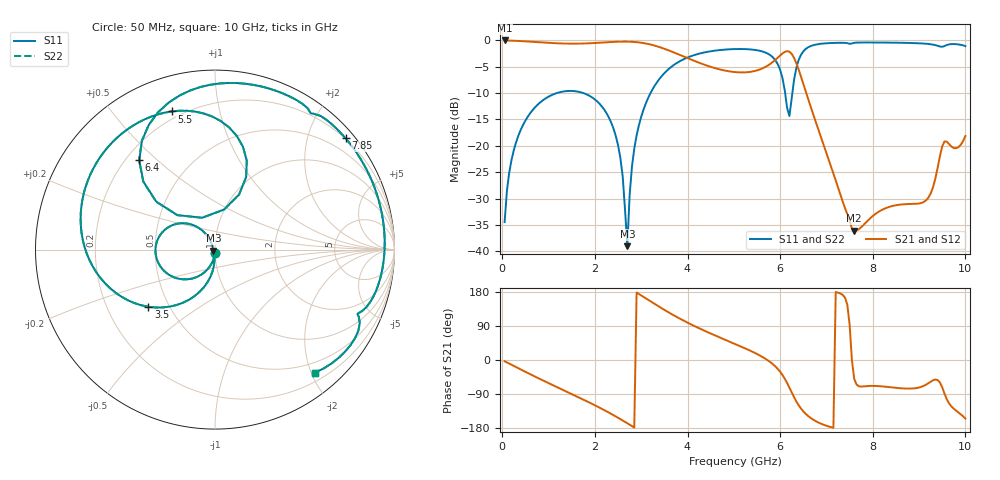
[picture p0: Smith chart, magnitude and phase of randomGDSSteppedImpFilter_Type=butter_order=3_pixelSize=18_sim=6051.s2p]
! freq	dB(S11)	phase(S11)	dB(S12)	phase(S12)
!  dB(S21)	phase(S21)	dB(S22)	phase(S22)
!S-par simulation data
#  GHz  S  DB  R 50
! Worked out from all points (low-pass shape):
!   200 points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, 50 MHz to 10 GHz, reference 50 ohm
!   highest |S21| = -0.01 dB at 50 MHz (marker M1); lowest = -36.1 dB at 7.6 GHz (marker M2)
!   |S21| within 3 dB of the highest: start of sweep to 3.904 GHz; 5.981 GHz to 6.28 GHz (298.9 MHz wide, 4.88 % of centre)
!   lowest |S11| = -39.0 dB at 2.7 GHz (marker M3), VSWR 1.02, Z = 49.1 - j0.611 ohm
!   |S11| at or under -10 dB: start of sweep to 1.176 GHz; 1.753 GHz to 3.2 GHz (1.447 GHz wide, 58.4 % of centre); 6.108 GHz to 6.263 GHz (155.7 MHz wide, 2.52 % of centre)
!   |S22| runs from -38.9 to -0.4 dB; largest |S21 - S12| = 0
!   S11 on the Smith chart (normalised r, x): 50 MHz: 1.00, -0.04; 3.5 GHz: 0.38, -0.32; 5.5 GHz: 0.16, +0.72; 6.4 GHz: 0.25, +0.44; 7.85 GHz: 0.19, +2.71; 10 GHz: 0.33, -2.06
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0.05  -34.47 -92.7  -0.01 -3.2  -0.01 -3.2  -34.47 -92.7
0.2  -22.64 -102.6  -0.05 -12.7  -0.05 -12.7  -22.64 -102.6
0.5  -15.19 -121.7  -0.18 -31.3  -0.18 -31.3  -15.19 -121.7
1.75  -9.99 165.4  -0.59 -104.4  -0.59 -104.4  -9.99 165.4
2.45  -18.10 123.3  -0.26 -148.9  -0.26 -148.9  -18.10 123.4
2.7  -39.03 -146.2  -0.23 -166.9  -0.23 -166.9  -38.87 -146.5
2.9  -18.05 -96.7  -0.33 177.9  -0.33 177.9  -18.04 -96.9
3.4  -7.22 -132.2  -1.28 139.6  -1.28 139.6  -7.22 -132.2
3.5  -6.21 -139.4  -1.59 132.2  -1.59 132.2  -6.21 -139.4
4.25  -2.52 173.1  -4.24 83.7  -4.24 83.7  -2.52 173.1
5.05  -1.64 131.4  -6.03 41.1  -6.03 41.1  -1.64 131.5
5.5  -1.86 107.4  -5.69 15.9  -5.69 15.9  -1.86 107.5
6  -5.58 70.3  -2.85 -31.1  -2.85 -31.1  -5.58 70.4
6.2  -14.36 112.0  -2.14 -72.7  -2.14 -72.7  -14.38 112.0
6.4  -3.70 130.3  -5.55 -119.4  -5.55 -119.4  -3.71 130.4
6.7  -0.95 99.0  -13.65 -156.4  -13.65 -156.4  -0.95 99.1
7.6  -0.46 51.7  -36.10 -49.9  -36.10 -49.9  -0.46 51.8
7.85  -0.39 40.4  -34.55 -69.1  -34.55 -69.1  -0.39 40.5
8.35  -0.41 19.8  -31.60 -71.5  -31.60 -71.5  -0.41 19.9
9.15  -0.63 -12.5  -30.34 -65.1  -30.34 -65.1  -0.63 -12.5
9.55  -1.07 -25.0  -19.16 -89.0  -19.16 -89.0  -1.07 -25.0
10  -1.08 -50.9  -18.14 -154.6  -18.14 -154.6  -1.07 -50.8
